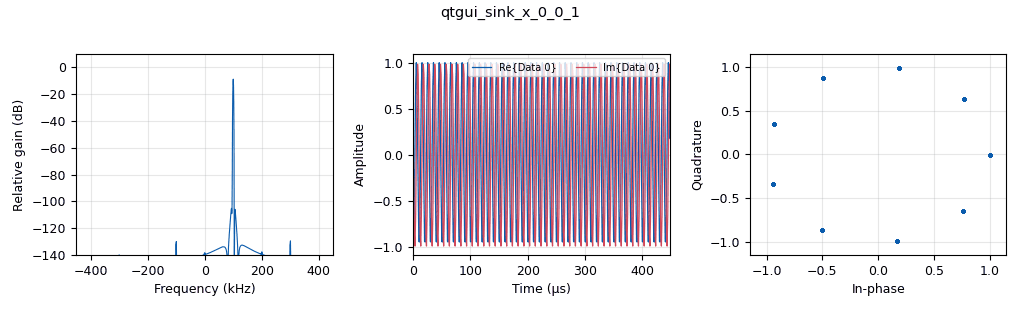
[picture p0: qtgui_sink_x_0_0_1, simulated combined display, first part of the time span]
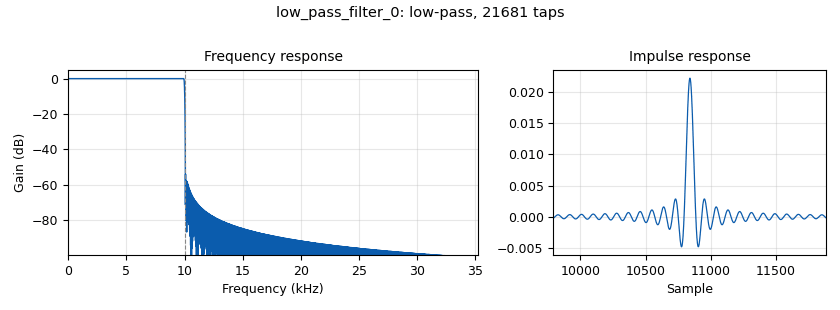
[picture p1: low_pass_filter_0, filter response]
options:
  parameters:
    generate_options: qt_gui
    id: task2
    output_language: python
    title: Not titled yet
  states: {}

blocks:
- name: samp_audio
  id: variable
  parameters:
    value: '32000'
  states: {}
- name: samp_rate
  id: variable
  parameters:
    value: '900000'
  states: {}
- name: analog_sig_source_x_0
  id: analog_sig_source_x
  parameters:
    amp: '1'
    freq: '100000'
    offset: '0'
    phase: '0'
    samp_rate: samp_rate
    type: complex
    waveform: analog.GR_COS_WAVE
  states: {}
- name: audio_sink_0
  id: audio_sink
  parameters:
    samp_rate: samp_audio
  states: {}
- name: blocks_complex_to_arg_0
  id: blocks_complex_to_arg
  parameters: {}
  states: {}
- name: blocks_conjugate_cc_0
  id: blocks_conjugate_cc
  parameters: {}
  states: {}
- name: blocks_file_source_0
  id: blocks_file_source
  parameters:
    file: /home/khariwal/Desktop/EE340_Communications_Lab/midsem/PM1.dat
    repeat: 'True'
    type: complex
  states: {}
- name: blocks_multiply_const_vxx_0
  id: blocks_multiply_const_vxx
  parameters:
    const: 1/6.28
    type: float
  states: {}
- name: blocks_multiply_xx_0
  id: blocks_multiply_xx
  parameters:
    type: complex
  states: {}
- name: blocks_throttle2_0
  id: blocks_throttle2
  parameters:
    samples_per_second: samp_rate
    type: float
  states: {}
- name: dc_blocker_xx_0
  id: dc_blocker_xx
  parameters:
    length: '32'
    long_form: 'True'
    type: ff
  states: {}
- name: low_pass_filter_0
  id: low_pass_filter
  parameters:
    cutoff_freq: '10000'
    gain: '1'
    interp: '1'
    samp_rate: samp_rate
    type: interp_fir_filter_fff
    width: '100'
    win: window.WIN_HAMMING
  states: {}
- name: qtgui_sink_x_0_0
  id: qtgui_sink_x
  parameters:
    bw: samp_rate
    fc: '0'
    fftsize: '1024'
    type: complex
  states: {}
- name: qtgui_sink_x_0_0_0
  id: qtgui_sink_x
  parameters:
    bw: samp_rate
    fc: '0'
    fftsize: '1024'
    type: float
  states: {}
- name: qtgui_sink_x_0_0_1
  id: qtgui_sink_x
  parameters:
    bw: samp_rate
    fc: '0'
    fftsize: '1024'
    type: complex
  states: {}

connections:
- [analog_sig_source_x_0, '0', blocks_conjugate_cc_0, '0']
- [analog_sig_source_x_0, '0', qtgui_sink_x_0_0_1, '0']
- [blocks_complex_to_arg_0, '0', blocks_throttle2_0, '0']
- [blocks_conjugate_cc_0, '0', blocks_multiply_xx_0, '1']
- [blocks_file_source_0, '0', blocks_multiply_xx_0, '0']
- [blocks_file_source_0, '0', qtgui_sink_x_0_0, '0']
- [blocks_multiply_const_vxx_0, '0', qtgui_sink_x_0_0_0, '0']
- [blocks_multiply_xx_0, '0', blocks_complex_to_arg_0, '0']
- [blocks_throttle2_0, '0', low_pass_filter_0, '0']
- [dc_blocker_xx_0, '0', audio_sink_0, '0']
- [dc_blocker_xx_0, '0', blocks_multiply_const_vxx_0, '0']
- [low_pass_filter_0, '0', dc_blocker_xx_0, '0']

metadata:
  file_format: 1
  grc_version: 3.10.10.0
